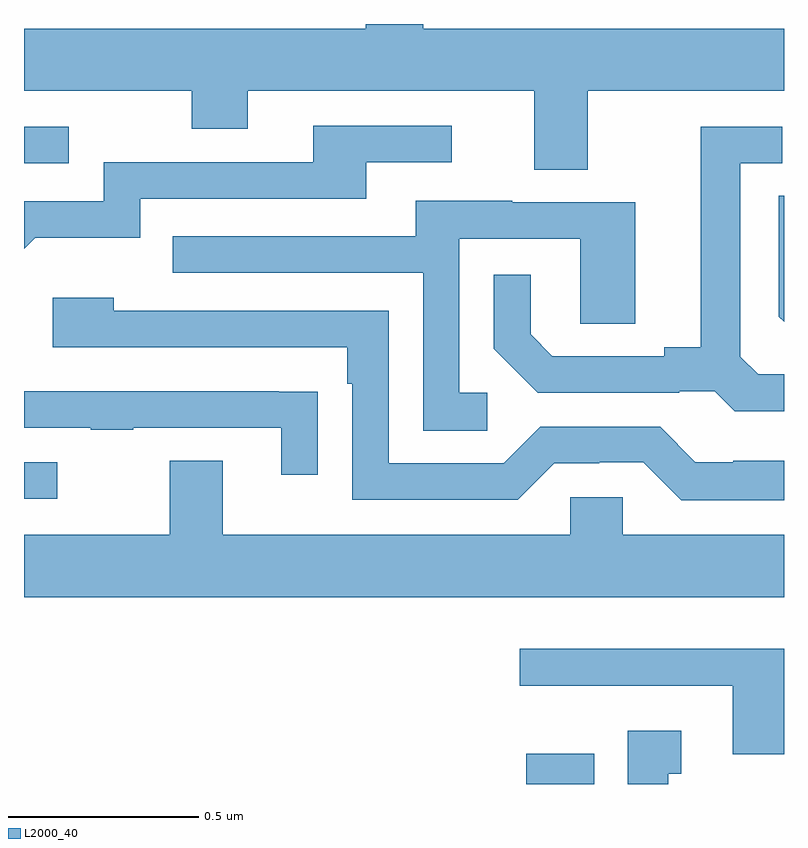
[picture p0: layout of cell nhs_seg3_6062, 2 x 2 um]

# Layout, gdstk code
import gdstk
lib = gdstk.Library(unit=1e-6, precision=1e-09)
def R(c, l, rs):  # rectangles x0, y0, x1, y1
    for r in rs: c.add(gdstk.rectangle(r[:2], r[2:], *l))
def P(c, l, *ps):  # polygons
    for p in ps: c.add(gdstk.Polygon(p, *l))
L2000_40 = (2000, 40)

nhs_seg3_6062 = lib.new_cell('nhs_seg3_6062')
R(nhs_seg3_6062, L2000_40, [(187.322,724.4,187.501,724.48), (186,725.151,186.088,725.247), (186,726.033,186.118,726.129)])
P(nhs_seg3_6062, L2000_40, [(187.483,726.224),(188,726.224),(188,726.388),(187.051,726.388),(187.051,726.4),(186.899,726.4),(186.899,726.388),(186,726.388),(186,726.224),(186.442,726.224),(186.442,726.125),(186.589,726.125),(186.589,726.224),(187.343,726.224),(187.343,726.016),(187.483,726.016)],
  [(186.029,725.837),(186.306,725.837),(186.306,725.94),(186.901,725.94),(186.901,726.036),(187.126,726.036),(187.126,726.132),(186.761,726.132),(186.761,726.036),(186.21,726.036),(186.21,725.934),(186,725.934),(186,725.808)],
  [(188,725.478),(187.932,725.478),(187.885,725.525),(187.885,726.033),(187.996,726.033),(187.996,726.129),(187.781,726.129),(187.781,725.549),(187.685,725.549),(187.685,725.526),(187.39,725.526),(187.333,725.583),(187.333,725.74),(187.236,725.74),(187.236,725.546),(187.352,725.43),(187.724,725.43),(187.724,725.433),(187.818,725.433),(187.87,725.381),(188,725.381)],
  [(188,725.948),(187.986,725.948),(187.986,725.63),(188,725.616)],
  [(187.219,725.43),(187.146,725.43),(187.146,725.835),(187.464,725.835),(187.464,725.611),(187.609,725.611),(187.609,725.931),(187.285,725.931),(187.285,725.935),(187.031,725.935),(187.031,725.841),(186.391,725.841),(186.391,725.745),(187.05,725.745),(187.05,725.329),(187.219,725.329)],
  [(188,725.251),(187.867,725.251),(187.867,725.247),(187.767,725.247),(187.674,725.34),(187.359,725.34),(187.263,725.244),(186.96,725.244),(186.96,725.646),(186.236,725.646),(186.236,725.68),(186.075,725.68),(186.075,725.55),(186.851,725.55),(186.851,725.453),(186.864,725.453),(186.864,725.148),(187.299,725.148),(187.395,725.244),(187.514,725.244),(187.514,725.247),(187.629,725.247),(187.729,725.147),(188,725.147)],
  [(186.773,725.432),(186.671,725.432),(186.671,725.433),(186,725.433),(186,725.337),(186.175,725.337),(186.175,725.332),(186.287,725.332),(186.287,725.337),(186.677,725.337),(186.677,725.214),(186.773,725.214)],
  [(188,725.056),(187.575,725.056),(187.575,725.154),(187.437,725.154),(187.437,725.056),(186.523,725.056),(186.523,725.251),(186.383,725.251),(186.383,725.056),(186,725.056),(186,724.892),(188,724.892)],
  [(188,724.756),(187.305,724.756),(187.305,724.659),(187.865,724.659),(187.865,724.478),(188,724.478)],
  [(187.696,724.427),(187.729,724.427),(187.729,724.54),(187.589,724.54),(187.589,724.4),(187.696,724.4)])

lib.write_gds('nhs_seg3_6062.gds')
